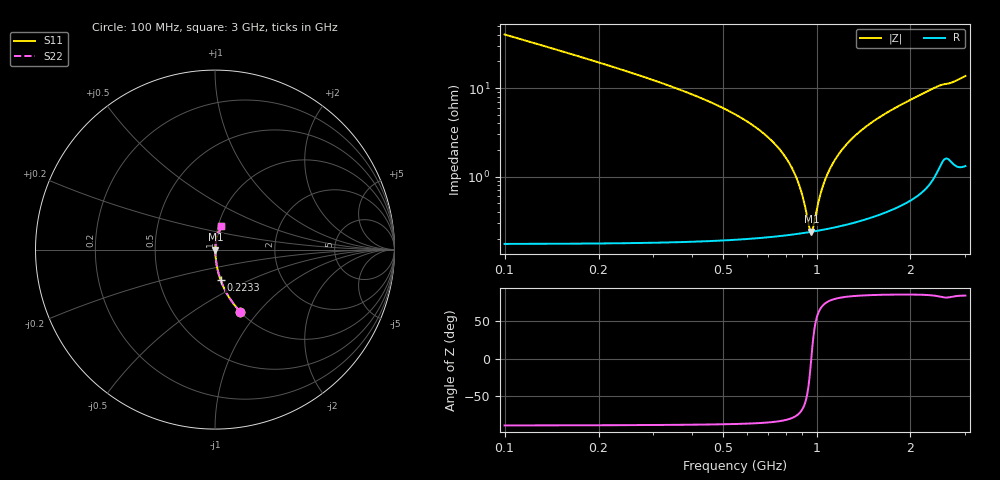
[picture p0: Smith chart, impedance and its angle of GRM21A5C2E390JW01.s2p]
!Murata Part Number: GRM21A5C2E390JW01
!These Parameters are Measured in Series Mode Connection
!Data Generated on Mar 30, 2021
!  o--ll--o
!Port1  Port2
!  o------o
!Operation Temp=25[degC], DC Bias Voltage=0[V]
!Freq. Start=100[MHz] Stop=3[GHz] 401[Steps]
# Hz S RI R 50
!Freq.(Hz) S11(Real) S11(Imag) S21(Real) S21(Imag) S12(Real) S12(Imag) S22(Real) S22(Imag)
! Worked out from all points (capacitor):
!   401 points, 100 MHz to 3 GHz, reference 50 ohm
!   read as one part in series: C = 39 pF near 114.5 MHz
!   lowest |Z| = 238 mohm at 962.8 MHz (marker M1)
!   series resonance near 961.9 MHz, so ESL is about 700 pH
!   S11 on the Smith chart (normalised r, x): 100 MHz: 1.00, -0.81; 223.2 MHz: 1.00, -0.35; 3 GHz: 1.03, +0.27
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1e8  0.1412 -0.3461  0.8588 0.3461  0.8588 0.3461  0.1412 -0.3461
1.5075e8  0.0666 -0.2461  0.9334 0.2461  0.9334 0.2461  0.0666 -0.2461
2.2325e8  0.0307 -0.1675  0.9693 0.1675  0.9693 0.1675  0.0307 -0.1675
3.61e8  0.0112 -0.0961  0.9888 0.0961  0.9888 0.0961  0.0112 -0.0961
5.8575e8  0.00389 -0.0438  0.9961 0.0438  0.9961 0.0438  0.00389 -0.0438
7.3075e8  0.00266 -0.0237  0.9973 0.0237  0.9973 0.0237  0.00266 -0.0237
8.25e8  0.00237 -0.0132  0.9976 0.0132  0.9976 0.0132  0.00237 -0.0132
8.83e8  0.00232 -0.00734  0.9977 0.00734  0.9977 0.00734  0.00232 -0.00734
9.0475e8  0.00232 -0.00525  0.9977 0.00525  0.9977 0.00525  0.00232 -0.00525
9.4825e8  0.00236 -0.00123  0.9976 0.00123  0.9976 0.00123  0.00236 -0.00123
9.6275e8  0.00238 7.7e-05  0.9976 -7.7e-05  0.9976 -7.7e-05  0.00238 7.7e-05
9.7725e8  0.0024 0.00136  0.9976 -0.00136  0.9976 -0.00136  0.0024 0.00136
1.028e9  0.0025 0.00573  0.9975 -0.00573  0.9975 -0.00573  0.0025 0.00573
1.0715e9  0.00263 0.00932  0.9974 -0.00932  0.9974 -0.00932  0.00263 0.00932
1.144e9  0.00289 0.0151  0.9971 -0.0151  0.9971 -0.0151  0.00289 0.0151
1.2455e9  0.00337 0.0227  0.9966 -0.0227  0.9966 -0.0227  0.00337 0.0227
1.376e9  0.00415 0.0319  0.9958 -0.0319  0.9958 -0.0319  0.00415 0.0319
1.55e9  0.00549 0.0436  0.9945 -0.0436  0.9945 -0.0436  0.00549 0.0436
1.7675e9  0.00762 0.0576  0.9924 -0.0576  0.9924 -0.0576  0.00762 0.0576
2.03575e9  0.0112 0.0747  0.9888 -0.0747  0.9888 -0.0747  0.0112 0.0747
2.5215e9  0.0252 0.104  0.9748 -0.104  0.9748 -0.104  0.0252 0.104
3e9  0.0307 0.1307  0.9693 -0.1307  0.9693 -0.1307  0.0307 0.1307
